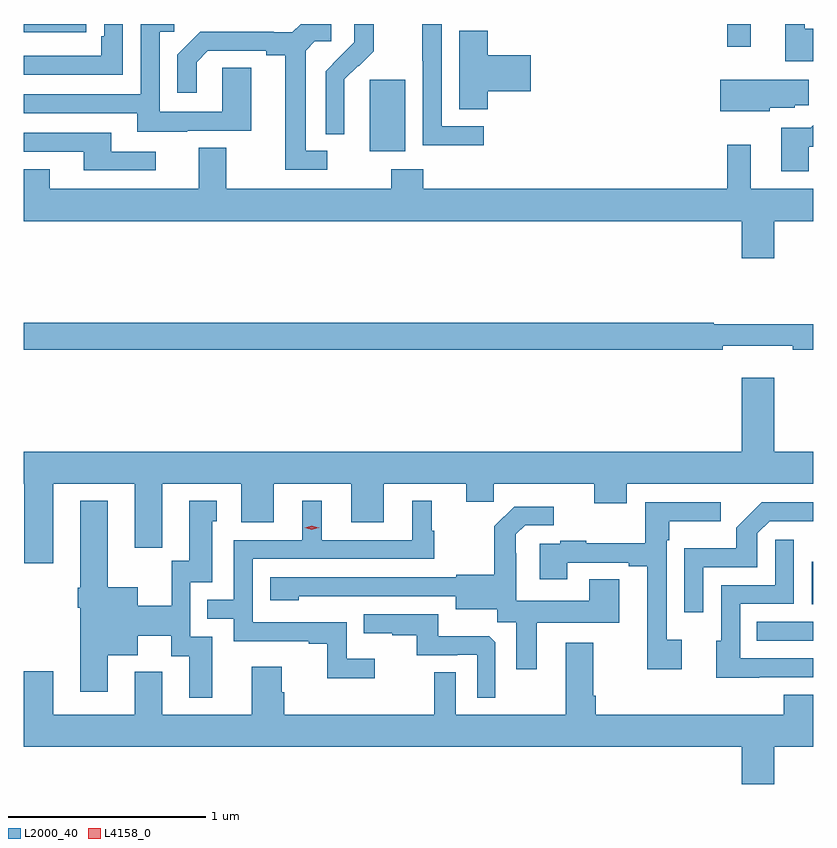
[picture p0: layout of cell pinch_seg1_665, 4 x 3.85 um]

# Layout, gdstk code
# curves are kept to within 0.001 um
import gdstk
lib = gdstk.Library(unit=1e-6, precision=1e-09)
def R(c, l, rs):  # rectangles x0, y0, x1, y1
    for r in rs: c.add(gdstk.rectangle(r[:2], r[2:], *l))
def P(c, l, *ps):  # polygons
    for p in ps: c.add(gdstk.Polygon(p, *l))
L2000_40 = (2000, 40)
L4158_0 = (4158, 0)

pinch_seg1_665 = lib.new_cell('pinch_seg1_665')
R(pinch_seg1_665, L2000_40, [(836.413,577.578,836.699,577.674), (836.69,577.763,836.699,577.978), (834.452,580.058,834.631,580.419), (836.262,580.587,836.383,580.702)])
P(pinch_seg1_665, L2000_40, [(834.238,580.059),(834.127,580.059),(834.127,580.567),(834.174,580.614),(834.256,580.614),(834.256,580.702),(834.103,580.702),(834.06,580.659),(833.966,580.659),(833.966,580.662),(833.594,580.662),(833.478,580.546),(833.478,580.353),(833.575,580.353),(833.575,580.509),(833.632,580.566),(833.927,580.566),(833.927,580.544),(834.023,580.544),(834.023,579.963),(834.238,579.963)],
  [(833.527,580.161),(833.851,580.161),(833.851,580.481),(833.706,580.481),(833.706,580.257),(833.388,580.257),(833.388,580.662),(833.461,580.662),(833.461,580.702),(833.292,580.702),(833.292,580.347),(832.699,580.347),(832.699,580.251),(833.273,580.251),(833.273,580.157),(833.527,580.157)],
  [(832.913,580.66),(833.015,580.66),(833.015,580.702),(832.699,580.702),(832.699,580.659),(832.913,580.659)],
  [(836.699,580.678),(836.656,580.678),(836.656,580.702),(836.558,580.702),(836.558,580.514),(836.699,580.514)],
  [(835.03,580.185),(834.816,580.185),(834.816,580.702),(834.718,580.702),(834.718,580.516),(834.72,580.516),(834.72,580.087),(835.03,580.087)],
  [(834.324,580.298),(834.323,580.421),(834.393,580.491),(834.396,580.488),(834.473,580.565),(834.473,580.702),(834.374,580.702),(834.374,580.61),(834.228,580.462),(834.228,580.144),(834.324,580.144)],
  [(833.202,580.702),(833.106,580.702),(833.106,580.639),(833.093,580.639),(833.093,580.542),(832.699,580.542),(832.699,580.446),(833.202,580.446)],
  [(835.049,580.361),(835.267,580.361),(835.267,580.544),(835.049,580.544),(835.049,580.667),(834.905,580.667),(834.905,580.27),(835.049,580.27)],
  [(836.478,580.277),(836.604,580.277),(836.604,580.291),(836.677,580.291),(836.677,580.42),(836.228,580.42),(836.228,580.259),(836.478,580.259)],
  [(836.677,580.079),(836.699,580.079),(836.699,580.19),(836.685,580.176),(836.537,580.176),(836.537,579.957),(836.677,579.957)],
  [(833.368,580.056),(833.143,580.056),(833.143,580.152),(832.699,580.152),(832.699,580.056),(833.003,580.056),(833.003,579.96),(833.368,579.96)],
  [(836.5,579.704),(836.699,579.704),(836.699,579.868),(836.383,579.868),(836.383,580.09),(836.262,580.09),(836.262,579.868),(834.722,579.868),(834.722,579.967),(834.562,579.967),(834.562,579.868),(833.725,579.868),(833.725,580.076),(833.585,580.076),(833.585,579.868),(832.831,579.868),(832.831,579.967),(832.699,579.967),(832.699,579.704),(836.336,579.704),(836.336,579.516),(836.5,579.516)],
  [(836.24,579.071),(836.596,579.071),(836.596,579.052),(836.699,579.052),(836.699,579.181),(836.194,579.181),(836.194,579.188),(832.699,579.188),(832.699,579.052),(836.24,579.052)],
  [(832.849,578.372),(833.261,578.372),(833.261,578.049),(833.401,578.049),(833.401,578.372),(833.801,578.372),(833.801,578.178),(833.965,578.178),(833.965,578.372),(834.359,578.372),(834.359,578.178),(834.523,578.178),(834.523,578.372),(834.941,578.372),(834.941,578.282),(835.079,578.282),(835.079,578.372),(835.589,578.372),(835.589,578.273),(835.753,578.273),(835.753,578.372),(836.699,578.372),(836.699,578.536),(836.5,578.536),(836.5,578.911),(836.336,578.911),(836.336,578.536),(832.699,578.536),(832.699,578.372),(832.702,578.372),(832.702,577.971),(832.849,577.971)],
  [(833.653,577.599),(833.544,577.599),(833.544,577.875),(833.653,577.875),(833.653,578.184),(833.677,578.184),(833.677,578.287),(833.537,578.287),(833.537,577.983),(833.448,577.983),(833.448,577.756),(833.278,577.756),(833.278,577.849),(833.125,577.849),(833.125,578.287),(832.985,578.287),(832.985,577.845),(832.973,577.845),(832.973,577.745),(832.985,577.745),(832.985,577.32),(833.125,577.32),(833.125,577.505),(833.278,577.505),(833.278,577.604),(833.447,577.604),(833.447,577.498),(833.537,577.498),(833.537,577.29),(833.653,577.29)],
  [(834.478,577.486),(834.336,577.486),(834.336,577.671),(833.859,577.671),(833.859,577.992),(834.778,577.992),(834.778,578.136),(834.766,578.136),(834.766,578.287),(834.668,578.287),(834.668,578.088),(834.208,578.088),(834.208,578.287),(834.11,578.287),(834.11,578.088),(833.763,578.088),(833.763,577.785),(833.629,577.785),(833.629,577.689),(833.763,577.689),(833.763,577.575),(834.143,577.575),(834.143,577.563),(834.238,577.563),(834.238,577.388),(834.478,577.388)],
  [(836.032,577.582),(835.956,577.582),(835.956,578.087),(835.969,578.087),(835.969,578.183),(836.23,578.183),(836.23,578.28),(835.848,578.28),(835.848,578.072),(835.549,578.072),(835.549,578.083),(835.417,578.083),(835.417,578.07),(835.313,578.07),(835.313,577.89),(835.453,577.89),(835.453,577.974),(835.763,577.974),(835.763,577.956),(835.859,577.956),(835.859,577.434),(836.032,577.434)],
  [(836.142,577.95),(836.415,577.95),(836.415,578.121),(836.478,578.184),(836.699,578.184),(836.699,578.28),(836.438,578.28),(836.308,578.15),(836.308,578.047),(836.046,578.047),(836.046,577.722),(836.142,577.722)],
  [(835.297,577.67),(835.717,577.67),(835.717,577.889),(835.565,577.889),(835.565,577.78),(835.194,577.78),(835.194,578.021),(835.192,578.021),(835.192,578.116),(835.239,578.163),(835.384,578.163),(835.384,578.257),(835.183,578.257),(835.083,578.157),(835.083,577.912),(834.891,577.912),(834.891,577.899),(833.949,577.899),(833.949,577.784),(834.093,577.784),(834.093,577.802),(834.887,577.803),(834.887,577.736),(835.098,577.736),(835.098,577.672),(835.193,577.672),(835.193,577.434),(835.297,577.434)],
  [(836.425,577.392),(836.699,577.392),(836.699,577.488),(836.328,577.488),(836.328,577.764),(836.601,577.764),(836.601,578.089),(836.505,578.089),(836.505,577.86),(836.232,577.86),(836.232,577.578),(836.207,577.578),(836.207,577.391),(836.425,577.391)],
  [(835.089,577.569),(835.057,577.601),(834.799,577.601),(834.799,577.713),(834.421,577.713),(834.421,577.616),(834.565,577.616),(834.565,577.605),(834.689,577.605),(834.689,577.503),(834.896,577.503),(834.896,577.506),(834.996,577.506),(834.996,577.289),(835.089,577.289)],
  [(836.336,576.852),(836.5,576.852),(836.5,577.04),(836.699,577.04),(836.699,577.303),(836.549,577.303),(836.549,577.204),(835.598,577.204),(835.598,577.3),(835.585,577.3),(835.585,577.567),(835.445,577.567),(835.445,577.204),(834.888,577.204),(834.888,577.418),(834.78,577.418),(834.78,577.204),(834.02,577.204),(834.02,577.317),(834.007,577.317),(834.007,577.447),(833.855,577.447),(833.855,577.204),(833.401,577.204),(833.401,577.42),(833.261,577.42),(833.261,577.204),(832.849,577.204),(832.849,577.423),(832.699,577.423),(832.699,577.04),(836.336,577.04)])
P(pinch_seg1_665, L4158_0, [(834.159,578.139),(834.124,578.149),(834.123,578.149),(834.124,578.149),(834.159,578.159),(834.194,578.149),(834.195,578.149),(834.194,578.149)])

lib.write_gds('pinch_seg1_665.gds')
